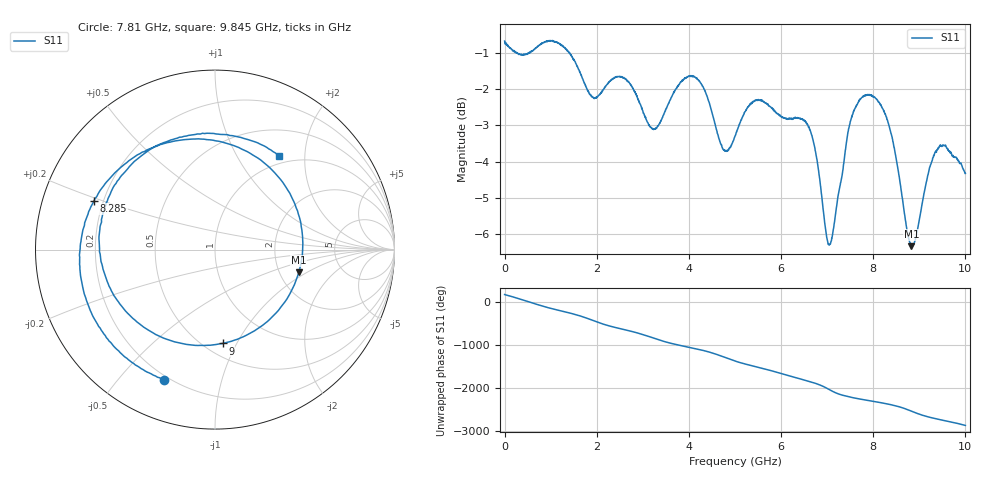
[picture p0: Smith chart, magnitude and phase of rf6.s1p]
!Keysight Technologies,M9375A,MY54321142,A.14.10.03
!Date: Thursday, September 11, 2025 11:52:48
!Correction: S11(C  2-Port  )
!S1P File: Measurement: :
# Hz S  dB  R 50
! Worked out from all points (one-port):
!   2001 points, 1 MHz to 10 GHz, reference 50 ohm
!   lowest |S11| = -6.3 dB at 8.83 GHz (marker M1), VSWR 2.87, Z = 127 - j41.9 ohm
!   |S11| at or under -10 dB: nowhere
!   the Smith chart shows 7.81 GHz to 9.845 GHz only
!   S11 on the Smith chart (normalised r, x): 7.81 GHz: 0.18, -0.67; 8.285 GHz: 0.16, +0.19; 9 GHz: 0.61, -0.88; 9.845 GHz: 0.87, +1.53
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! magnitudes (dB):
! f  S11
! 1 MHz  -0.7
! 376 MHz  -1.0
! 1.251 GHz  -0.8
! 1.926 GHz  -2.2
! 2.501 GHz  -1.7
! 2.746 GHz  -1.9
! 3.226 GHz  -3.1
! 3.751 GHz  -1.9
! 4.156 GHz  -1.7
! 4.386 GHz  -2.2
! 4.736 GHz  -3.6
! 5 GHz  -3.3
! 5.46 GHz  -2.3
! 6.25 GHz  -2.8
! 6.665 GHz  -3.3
! 7.045 GHz  -6.3
! 7.12 GHz  -6.0
! 7.5 GHz  -2.9
! 7.81 GHz  -2.2
! 8.285 GHz  -2.8
! 8.48 GHz  -3.8
! 8.75 GHz  -6.0
! 8.83 GHz  -6.3
! 9 GHz  -5.6
! 9.2 GHz  -4.3
! 9.375 GHz  -3.7
! 9.845 GHz  -4.0
! 10 GHz  -4.3
